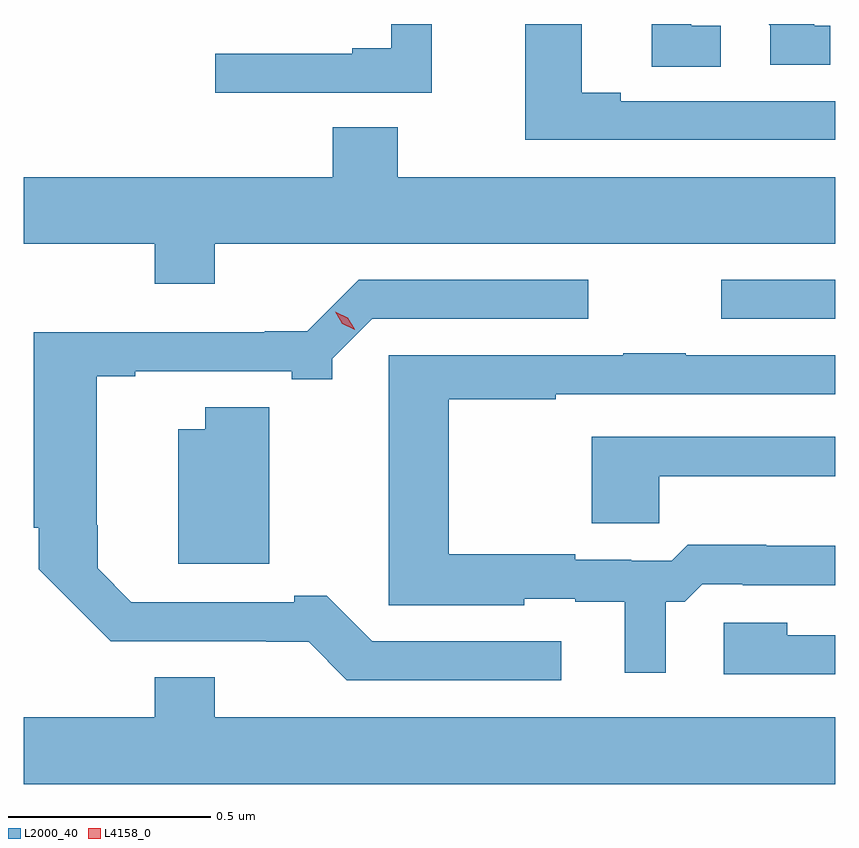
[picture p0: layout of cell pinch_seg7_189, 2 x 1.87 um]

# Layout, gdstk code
import gdstk
lib = gdstk.Library(unit=1e-6, precision=1e-09)
def R(c, l, rs):  # rectangles x0, y0, x1, y1
    for r in rs: c.add(gdstk.rectangle(r[:2], r[2:], *l))
def P(c, l, *ps):  # polygons
    for p in ps: c.add(gdstk.Polygon(p, *l))
L2000_40 = (2000, 40)
L4158_0 = (4158, 0)

pinch_seg7_189 = lib.new_cell('pinch_seg7_189')
R(pinch_seg7_189, L2000_40, [(1126.101,1008.423,1126.381,1008.519)])
P(pinch_seg7_189, L2000_40, [(1126.369,1009.146),(1126.33,1009.146),(1126.33,1009.15),(1126.217,1009.15),(1126.221,1009.146),(1126.221,1009.05),(1126.369,1009.05)],
  [(1125.387,1009.15),(1125.287,1009.15),(1125.287,1009.09),(1125.191,1009.09),(1125.191,1009.077),(1124.853,1009.077),(1124.853,1008.981),(1125.387,1008.981)],
  [(1126.099,1009.146),(1126.026,1009.146),(1126.026,1009.15),(1125.929,1009.15),(1125.929,1009.045),(1126.099,1009.045)],
  [(1126.381,1008.96),(1125.853,1008.96),(1125.853,1008.98),(1125.757,1008.98),(1125.757,1009.15),(1125.617,1009.15),(1125.617,1008.864),(1126.381,1008.864)],
  [(1124.851,1008.608),(1126.381,1008.608),(1126.381,1008.772),(1125.303,1008.772),(1125.303,1008.896),(1125.143,1008.896),(1125.143,1008.772),(1124.381,1008.772),(1124.381,1008.608),(1124.704,1008.608),(1124.704,1008.509),(1124.851,1008.509)],
  [(1125.706,1007.628),(1125.24,1007.628),(1125.128,1007.74),(1125.047,1007.74),(1125.047,1007.724),(1124.646,1007.724),(1124.563,1007.808),(1124.563,1007.914),(1124.56,1007.914),(1124.56,1008.282),(1124.656,1008.282),(1124.656,1008.294),(1125.041,1008.294),(1125.041,1008.274),(1125.141,1008.274),(1125.141,1008.324),(1125.24,1008.423),(1125.772,1008.423),(1125.772,1008.519),(1125.207,1008.519),(1125.08,1008.392),(1124.975,1008.392),(1124.975,1008.39),(1124.405,1008.39),(1124.405,1007.908),(1124.417,1007.908),(1124.417,1007.806),(1124.595,1007.628),(1124.978,1007.628),(1124.978,1007.627),(1125.083,1007.627),(1125.177,1007.532),(1125.706,1007.532)],
  [(1125.964,1007.726),(1126.01,1007.726),(1126.053,1007.769),(1126.153,1007.769),(1126.153,1007.766),(1126.381,1007.766),(1126.381,1007.863),(1126.211,1007.863),(1126.211,1007.866),(1126.018,1007.866),(1125.978,1007.826),(1125.878,1007.826),(1125.878,1007.829),(1125.741,1007.829),(1125.741,1007.842),(1125.429,1007.842),(1125.429,1008.225),(1125.692,1008.225),(1125.692,1008.237),(1126.381,1008.237),(1126.381,1008.333),(1126.013,1008.333),(1126.013,1008.338),(1125.859,1008.338),(1125.859,1008.333),(1125.281,1008.333),(1125.281,1007.717),(1125.615,1007.717),(1125.615,1007.733),(1125.741,1007.733),(1125.741,1007.726),(1125.863,1007.726),(1125.863,1007.55),(1125.964,1007.55)],
  [(1124.986,1008.205),(1124.828,1008.205),(1124.828,1008.151),(1124.762,1008.151),(1124.762,1007.819),(1124.986,1007.819)],
  [(1125.947,1008.035),(1126.381,1008.035),(1126.381,1008.132),(1125.781,1008.132),(1125.781,1007.919),(1125.947,1007.919)],
  [(1126.381,1007.643),(1126.263,1007.643),(1126.263,1007.674),(1126.107,1007.674),(1126.107,1007.547),(1126.381,1007.547)],
  [(1126.381,1007.44),(1124.851,1007.44),(1124.851,1007.539),(1124.704,1007.539),(1124.704,1007.44),(1124.381,1007.44),(1124.381,1007.276),(1126.381,1007.276)])
P(pinch_seg7_189, L4158_0, [(1125.197,1008.396),(1125.166,1008.411),(1125.149,1008.441),(1125.149,1008.441),(1125.149,1008.441),(1125.179,1008.426),(1125.197,1008.397),(1125.197,1008.396)])

lib.write_gds('pinch_seg7_189.gds')
